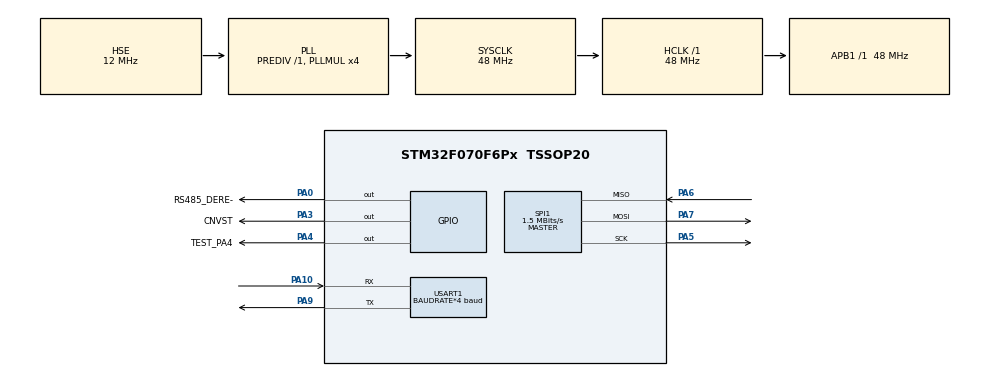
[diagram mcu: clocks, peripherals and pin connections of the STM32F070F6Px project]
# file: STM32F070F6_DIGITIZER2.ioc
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Mcu.Family=STM32F0
Mcu.Name=STM32F070F6Px
Mcu.Package=TSSOP20
Mcu.UserConstants=BAUDRATE,115200;TIM14_US,8
NVIC.TIM14_IRQn=true\:0\:0\:true\:false\:true\:true\:true
NVIC.USART1_IRQn=true\:1\:0\:true\:false\:true\:true\:true
PA0.GPIO_Label=RS485_DERE-
PA0.GPIO_Speed=GPIO_SPEED_FREQ_HIGH
PA0.Signal=GPIO_Output
PA10.Mode=Asynchronous
PA10.Signal=USART1_RX
PA13.Mode=Serial_Wire
PA13.Signal=SYS_SWDIO
PA14.Mode=Serial_Wire
PA14.Signal=SYS_SWCLK
PA3.GPIO_Label=CNVST
PA3.GPIO_Speed=GPIO_SPEED_FREQ_HIGH
PA3.Signal=GPIO_Output
PA4.GPIO_Label=TEST_PA4
PA4.GPIO_Speed=GPIO_SPEED_FREQ_HIGH
PA4.Signal=GPIO_Output
PA5.Mode=Full_Duplex_Master
PA5.Signal=SPI1_SCK
PA6.GPIO_Mode=GPIO_MODE_AF_PP
PA6.GPIO_PuPd=GPIO_NOPULL
PA6.Mode=Full_Duplex_Master
PA6.Signal=SPI1_MISO
PA7.Mode=Full_Duplex_Master
PA7.Signal=SPI1_MOSI
PA9.Mode=Asynchronous
PA9.Signal=USART1_TX
PF0-OSC_IN.Mode=HSE-External-Oscillator
PF0-OSC_IN.Signal=RCC_OSC_IN
PF1-OSC_OUT.Mode=HSE-External-Oscillator
PF1-OSC_OUT.Signal=RCC_OSC_OUT
ProjectManager.HeapSize=0x200
ProjectManager.StackSize=0x400
ProjectManager.TargetToolchain=STM32CubeIDE
RCC.AHBFreq_Value=48000000
RCC.APB1Freq_Value=48000000
RCC.APB1TimFreq_Value=48000000
RCC.HCLKFreq_Value=48000000
RCC.HSE_VALUE=12000000
RCC.PLLMUL=RCC_PLL_MUL4
RCC.PLLSourceVirtual=RCC_PLLSOURCE_HSE
RCC.SYSCLKFreq_VALUE=48000000
RCC.SYSCLKSource=RCC_SYSCLKSOURCE_PLLCLK
SPI1.BaudRatePrescaler=SPI_BAUDRATEPRESCALER_32
SPI1.CLKPhase=SPI_PHASE_2EDGE
SPI1.CalculateBaudRate=1.5 MBits/s
SPI1.DataSize=SPI_DATASIZE_16BIT
SPI1.Direction=SPI_DIRECTION_2LINES
SPI1.Mode=SPI_MODE_MASTER
SPI1.VirtualType=VM_MASTER
TIM14.AutoReloadPreload=TIM_AUTORELOAD_PRELOAD_ENABLE
TIM14.Period=48*TIM14_US
USART1.BaudRate=BAUDRATE*4
USART1.VirtualMode=VM_ASYNC
VP_TIM14_VS_ClockSourceINT.Mode=Enable_Timer
board=custom

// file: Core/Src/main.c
/* USER CODE BEGIN Header */
/**
  ******************************************************************************
  * @file           : main.c
  * @brief          : Main program body
  ******************************************************************************
  * @attention
  *
  * <h2><center>&copy; Copyright (c) 2021 STMicroelectronics.
  * All rights reserved.</center></h2>
  *
  * This software component is licensed by ST under BSD 3-Clause license,
  * the "License"; You may not use this file except in compliance with the
  * License. You may obtain a copy of the License at:
  *                        opensource.org/licenses/BSD-3-Clause
  *
  ******************************************************************************
  */
/* USER CODE END Header */
#include "main.h"

/* USER CODE BEGIN Includes */
#include <stdlib.h>
#include <stdint.h>
#include <stddef.h>
#include <assert.h>
#include <string.h>   //Для memset
#include "circular_buffer.h"
#include "utility.h"

/* USER CODE END Includes */

SPI_HandleTypeDef hspi1;

TIM_HandleTypeDef htim14;

UART_HandleTypeDef huart1;

/* USER CODE BEGIN PV */
/*****************************************************************************/
cbuf_handle_t cbuf;
uint16_t buffer[RING_BUFFER_SIZE * sizeof(uint16_t)];
#define TEST_BUFF	1
#ifdef TEST_BUFF
cbuf_handle_t cbuf4Test;
uint16_t buffer4Test[RING_BUFFER_SIZE * sizeof(uint16_t)];
#endif
/*****************************************************************************/

/* USER CODE END PV */

void SystemClock_Config(void);
static void MX_GPIO_Init(void);
static void MX_SPI1_Init(void);
static void MX_TIM14_Init(void);
static void MX_USART1_UART_Init(void);

int main(void)
{

  /* MCU Configuration--------------------------------------------------------*/

  /* Reset of all peripherals, Initializes the Flash interface and the Systick. */
  HAL_Init();

  /* USER CODE BEGIN Init */
	static uint32_t sum = 0;
	static uint32_t avr_counter = 0;

	static uint32_t temp, ring_buff_size = 0;

  uint16_t data;
  uint32_t avrg_data = 0;

  /* USER CODE END Init */

  /* Configure the system clock */
  SystemClock_Config();

  /* Initialize all configured peripherals */
  MX_GPIO_Init();
  MX_SPI1_Init();
  MX_TIM14_Init();
  MX_USART1_UART_Init();
  /* USER CODE BEGIN 2 */
//  uint16_t * buffer  = malloc(RING_BUFFER_SIZE * sizeof(uint16_t));
  cbuf = circular_buf_init(buffer, RING_BUFFER_SIZE);
  memset(buffer, 0xFF, sizeof(uint16_t)*RING_BUFFER_SIZE); // for debugging
#ifdef TEST_BUFF
  cbuf4Test = circular_buf_init(buffer4Test, RING_BUFFER_SIZE);
  memset(buffer4Test, 0xFF, sizeof(uint16_t)*RING_BUFFER_SIZE); // for debugging
#endif
  /* USER CODE END 2 */

  /* Infinite loop */
  /* USER CODE BEGIN WHILE */
  SPI1->CR1 |= 1<<SPI_CR1_SPE_Pos; //Turn On SPI
  HAL_TIM_Base_Start_IT(&htim14);
  while (1)
  {
  	if(0 == circular_buf_get(cbuf, &data)){
  		// new data appeared
#ifdef TEST_BUFF
  	    circular_buf_put(cbuf4Test, data); //
#endif
  		// Let check RingBuff size:
  		temp = circular_buf_size(cbuf);
  		if(temp > ring_buff_size){
  			ring_buff_size = temp;
  		}

#define AVERAGING 1
#ifdef AVERAGING
  			//if(avr_counter < (AVERAGE_WINDOW_SIZE-1)){
			if(avr_counter < AVERAGE_WINDOW_SIZE){
				sum = sum + data;
				avr_counter++;
			}else{
				avrg_data = sum + data;
				sum = 0;
				avr_counter = 0;

				// new data ready to packing at COBS
				avrg_data = avrg_data >> SHIFT_AVRG_DATA; // If AVERAGE_WINDOW_SIZE=8, then let shift 3 bits right
				cobs_doing((uint16_t)avrg_data);
			}
#else
			cobs_doing((uint16_t)data);
#endif
  	}
  }
    /* USER CODE END WHILE */

}

void SystemClock_Config(void)
{
  RCC_OscInitTypeDef RCC_OscInitStruct = {0};
  RCC_ClkInitTypeDef RCC_ClkInitStruct = {0};
  RCC_PeriphCLKInitTypeDef PeriphClkInit = {0};

  /** Initializes the RCC Oscillators according to the specified parameters
  * in the RCC_OscInitTypeDef structure.
  */
  RCC_OscInitStruct.OscillatorType = RCC_OSCILLATORTYPE_HSE;
  RCC_OscInitStruct.HSEState = RCC_HSE_ON;
  RCC_OscInitStruct.PLL.PLLState = RCC_PLL_ON;
  RCC_OscInitStruct.PLL.PLLSource = RCC_PLLSOURCE_HSE;
  RCC_OscInitStruct.PLL.PLLMUL = RCC_PLL_MUL4;
  RCC_OscInitStruct.PLL.PREDIV = RCC_PREDIV_DIV1;
  if (HAL_RCC_OscConfig(&RCC_OscInitStruct) != HAL_OK)
  {
    Error_Handler();
  }
  /** Initializes the CPU, AHB and APB buses clocks
  */
  RCC_ClkInitStruct.ClockType = RCC_CLOCKTYPE_HCLK|RCC_CLOCKTYPE_SYSCLK
                              |RCC_CLOCKTYPE_PCLK1;
  RCC_ClkInitStruct.SYSCLKSource = RCC_SYSCLKSOURCE_PLLCLK;
  RCC_ClkInitStruct.AHBCLKDivider = RCC_SYSCLK_DIV1;
  RCC_ClkInitStruct.APB1CLKDivider = RCC_HCLK_DIV1;

  if (HAL_RCC_ClockConfig(&RCC_ClkInitStruct, FLASH_LATENCY_1) != HAL_OK)
  {
    Error_Handler();
  }
  PeriphClkInit.PeriphClockSelection = RCC_PERIPHCLK_USART1;
  PeriphClkInit.Usart1ClockSelection = RCC_USART1CLKSOURCE_PCLK1;
  if (HAL_RCCEx_PeriphCLKConfig(&PeriphClkInit) != HAL_OK)
  {
    Error_Handler();
  }
}

static void MX_SPI1_Init(void)
{

  /* SPI1 parameter configuration*/
  hspi1.Instance = SPI1;
  hspi1.Init.Mode = SPI_MODE_MASTER;
  hspi1.Init.Direction = SPI_DIRECTION_2LINES;
  hspi1.Init.DataSize = SPI_DATASIZE_8BIT; // SPI_DATASIZE_16BIT
  hspi1.Init.CLKPolarity = SPI_POLARITY_LOW; // Must be SPI_POLARITY_LOW
  hspi1.Init.CLKPhase = SPI_PHASE_2EDGE; // Must be SPI_PHASE_2EDGE
  hspi1.Init.NSS = SPI_NSS_SOFT;
  hspi1.Init.BaudRatePrescaler = SPI_BAUDRATEPRESCALER_4;
  hspi1.Init.FirstBit = SPI_FIRSTBIT_MSB;
  hspi1.Init.TIMode = SPI_TIMODE_DISABLE;
  hspi1.Init.CRCCalculation = SPI_CRCCALCULATION_DISABLE;
  hspi1.Init.CRCPolynomial = 7;
  hspi1.Init.CRCLength = SPI_CRC_LENGTH_DATASIZE;
  hspi1.Init.NSSPMode = SPI_NSS_PULSE_DISABLE;
  if (HAL_SPI_Init(&hspi1) != HAL_OK)
  {
    Error_Handler();
  }

}

static void MX_TIM14_Init(void)
{

  htim14.Instance = TIM14;
  htim14.Init.Prescaler = 0;
  htim14.Init.CounterMode = TIM_COUNTERMODE_UP;
  htim14.Init.Period = 48*TIM14_US;
  htim14.Init.ClockDivision = TIM_CLOCKDIVISION_DIV1;
  htim14.Init.AutoReloadPreload = TIM_AUTORELOAD_PRELOAD_ENABLE;
  if (HAL_TIM_Base_Init(&htim14) != HAL_OK)
  {
    Error_Handler();
  }

}

static void MX_USART1_UART_Init(void)
{

  huart1.Instance = USART1;
  huart1.Init.BaudRate = BAUDRATE*4;
  huart1.Init.WordLength = UART_WORDLENGTH_8B;
  huart1.Init.StopBits = UART_STOPBITS_1;
  huart1.Init.Parity = UART_PARITY_NONE;
  huart1.Init.Mode = UART_MODE_TX_RX;
  huart1.Init.HwFlowCtl = UART_HWCONTROL_NONE;
  huart1.Init.OverSampling = UART_OVERSAMPLING_16;
  huart1.Init.OneBitSampling = UART_ONE_BIT_SAMPLE_DISABLE;
  huart1.AdvancedInit.AdvFeatureInit = UART_ADVFEATURE_NO_INIT;
  if (HAL_UART_Init(&huart1) != HAL_OK)
  {
    Error_Handler();
  }

}

static void MX_GPIO_Init(void)
{
  GPIO_InitTypeDef GPIO_InitStruct = {0};

  /* GPIO Ports Clock Enable */
  __HAL_RCC_GPIOF_CLK_ENABLE();
  __HAL_RCC_GPIOA_CLK_ENABLE();

  /*Configure GPIO pin Output Level */
  HAL_GPIO_WritePin(GPIOA, RS485_DERE__Pin|CNVST_Pin|TEST_PA4_Pin, GPIO_PIN_RESET);

  /*Configure GPIO pins : RS485_DERE__Pin CNVST_Pin TEST_PA4_Pin */
  GPIO_InitStruct.Pin = RS485_DERE__Pin|CNVST_Pin|TEST_PA4_Pin;
  GPIO_InitStruct.Mode = GPIO_MODE_OUTPUT_PP;
  GPIO_InitStruct.Pull = GPIO_NOPULL;
  GPIO_InitStruct.Speed = GPIO_SPEED_FREQ_HIGH;
  HAL_GPIO_Init(GPIOA, &GPIO_InitStruct);

}

void Error_Handler(void)
{
  __disable_irq();
  while (1)
  {
  }
}

/************************ (C) COPYRIGHT STMicroelectronics *****END OF FILE****/
